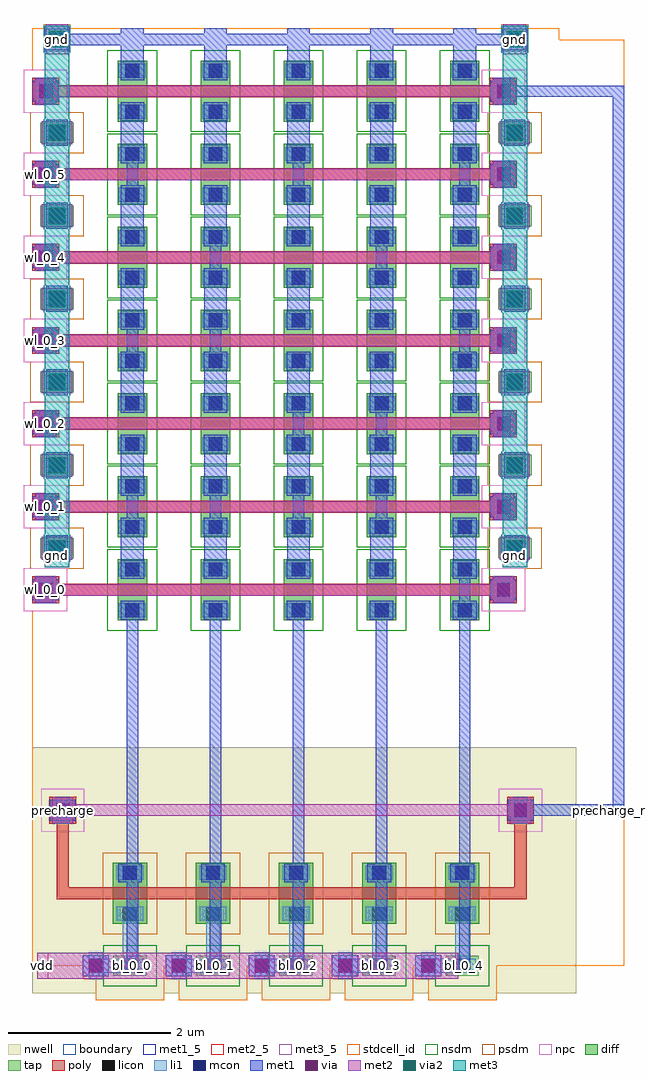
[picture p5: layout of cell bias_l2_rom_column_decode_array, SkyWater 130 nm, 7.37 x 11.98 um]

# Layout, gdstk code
from math import pi, radians
import gdstk
lib = gdstk.Library(unit=1e-6, precision=1e-09)
def R(c, l, rs):  # rectangles x0, y0, x1, y1
    for r in rs: c.add(gdstk.rectangle(r[:2], r[2:], *l))
def A(c, l, x, y, w, h, nx, ny, dx, dy):  # array of equal rectangles
    R(c, l, [(x+i*dx, y+j*dy, x+i*dx+w, y+j*dy+h) for i in range(nx) for j in range(ny)])
nwell = (64, 20)
diff = (65, 20)
tap = (65, 44)
poly = (66, 20)
licon = (66, 44)
li1 = (67, 20)
mcon = (67, 44)
met1_5 = (68, 5)
met1 = (68, 20)
via = (68, 44)
met2_5 = (69, 5)
met2 = (69, 20)
via2 = (69, 44)
met3_5 = (70, 5)
met3 = (70, 20)
stdcell_id = (81, 4)
nsdm = (93, 44)
psdm = (94, 20)
npc = (95, 20)
boundary = (235, 4)

bias_l2_contact_11 = lib.new_cell('bias_l2_contact_11')
R(bias_l2_contact_11, poly, [(0,0,0.33,0.33)])
R(bias_l2_contact_11, licon, [(0.08,0.08,0.25,0.25)])
R(bias_l2_contact_11, li1, [(0.08,0,0.25,0.33)])
R(bias_l2_contact_11, stdcell_id, [(-0.1,-0.1,0.43,0.43)])
R(bias_l2_contact_11, npc, [(-0.1,-0.1,0.43,0.43)])
R(bias_l2_contact_11, boundary, [(-0.1,-0.1,0.43,0.43)])

bias_l2_contact_12 = lib.new_cell('bias_l2_contact_12')
R(bias_l2_contact_12, li1, [(0.06,0,0.23,0.33)])
R(bias_l2_contact_12, mcon, [(0.06,0.08,0.23,0.25)])
R(bias_l2_contact_12, met1, [(0,0.05,0.29,0.28)])
R(bias_l2_contact_12, stdcell_id, [(0,0,0.29,0.33)])
R(bias_l2_contact_12, boundary, [(0,0,0.29,0.33)])

bias_l2_contact_13 = lib.new_cell('bias_l2_contact_13')
R(bias_l2_contact_13, met1, [(0,0.03,0.32,0.29)])
R(bias_l2_contact_13, via, [(0.085,0.085,0.235,0.235)])
R(bias_l2_contact_13, met2, [(0.03,0,0.29,0.32)])
R(bias_l2_contact_13, stdcell_id, [(0,0,0.32,0.32)])
R(bias_l2_contact_13, boundary, [(0,0,0.32,0.32)])

bias_l2_contact_16 = lib.new_cell('bias_l2_contact_16')
R(bias_l2_contact_16, tap, [(0,0,0.41,0.25)])
R(bias_l2_contact_16, licon, [(0.12,0.04,0.29,0.21)])
R(bias_l2_contact_16, li1, [(0.04,0.04,0.37,0.21)])
R(bias_l2_contact_16, stdcell_id, [(-0.125,-0.125,0.535,0.375)])
R(bias_l2_contact_16, psdm, [(-0.125,-0.125,0.535,0.375)])
R(bias_l2_contact_16, boundary, [(-0.125,-0.125,0.535,0.375)])

bias_l2_rom_poly_tap_1 = lib.new_cell('bias_l2_rom_poly_tap_1')
R(bias_l2_rom_poly_tap_1, li1, [(0.22,0.675,0.39,0.845)])
R(bias_l2_rom_poly_tap_1, met1, [(0.005,0.12,0.325,0.38)])
R(bias_l2_rom_poly_tap_1, met2_5, [(0.095,0.18,0.235,0.32)])
R(bias_l2_rom_poly_tap_1, met2, [(0.095,0.18,0.235,0.32)])
R(bias_l2_rom_poly_tap_1, stdcell_id, [(0,0,0.85,1.02)])
R(bias_l2_rom_poly_tap_1, boundary, [(0,0,0.85,1.02)])
bias_l2_rom_poly_tap_1.add(gdstk.Reference(bias_l2_contact_11, (0,0.085)))
bias_l2_rom_poly_tap_1.add(gdstk.Reference(bias_l2_contact_12, (0.02,0.085)))
bias_l2_rom_poly_tap_1.add(gdstk.Reference(bias_l2_contact_13, (0.005,0.09)))
bias_l2_rom_poly_tap_1.add(gdstk.Reference(bias_l2_contact_16, (0.1,0.635)))
bias_l2_rom_poly_tap_1.add(gdstk.Label('poly_tap', (0.165,0.25), layer=69, texttype=5))
bias_l2_rom_poly_tap_1.add(gdstk.Label('active_tap', (0.305,0.76), layer=67, texttype=5))

bias_l2_contact_8 = lib.new_cell('bias_l2_contact_8')
R(bias_l2_contact_8, diff, [(0,0.02,0.25,0.31)])
R(bias_l2_contact_8, licon, [(0.04,0.08,0.21,0.25)])
R(bias_l2_contact_8, li1, [(0.04,0,0.21,0.33)])
R(bias_l2_contact_8, stdcell_id, [(-0.125,-0.105,0.375,0.435)])
R(bias_l2_contact_8, nsdm, [(-0.125,-0.105,0.375,0.435)])
R(bias_l2_contact_8, boundary, [(-0.125,-0.105,0.375,0.435)])

bias_l2_contact_9 = lib.new_cell('bias_l2_contact_9')
R(bias_l2_contact_9, li1, [(0.03,0,0.2,0.33)])
R(bias_l2_contact_9, mcon, [(0.03,0.08,0.2,0.25)])
R(bias_l2_contact_9, met1, [(0,0.02,0.23,0.31)])
R(bias_l2_contact_9, stdcell_id, [(-0.095,-0.125,0.325,0.455)])
R(bias_l2_contact_9, nsdm, [(-0.095,-0.125,0.325,0.455)])
R(bias_l2_contact_9, boundary, [(-0.095,-0.125,0.325,0.455)])

bias_l2_nmos_m1_w0_360_s = lib.new_cell('bias_l2_nmos_m1_w0_360_sm1_dm1')
R(bias_l2_nmos_m1_w0_360_s, diff, [(0,0,0.75,0.36)])
R(bias_l2_nmos_m1_w0_360_s, poly, [(0.3,-0.13,0.45,0.49), (0.3,-0.13,0.45,0.49)])
R(bias_l2_nmos_m1_w0_360_s, met1_5, [(0.01,0.035,0.24,0.325), (0.51,0.035,0.74,0.325)])
R(bias_l2_nmos_m1_w0_360_s, met1, [(0.01,0.035,0.24,0.325), (0.51,0.035,0.74,0.325)])
R(bias_l2_nmos_m1_w0_360_s, stdcell_id, [(-0.125,-0.13,0.875,0.49)])
R(bias_l2_nmos_m1_w0_360_s, nsdm, [(-0.125,-0.125,0.875,0.485)])
R(bias_l2_nmos_m1_w0_360_s, boundary, [(-0.125,-0.13,0.875,0.49)])
bias_l2_nmos_m1_w0_360_s.add(gdstk.Reference(bias_l2_contact_8, (0,0.015)))
bias_l2_nmos_m1_w0_360_s.add(gdstk.Reference(bias_l2_contact_9, (0.01,0.015)))
bias_l2_nmos_m1_w0_360_s.add(gdstk.Reference(bias_l2_contact_8, (0.5,0.015)))
bias_l2_nmos_m1_w0_360_s.add(gdstk.Reference(bias_l2_contact_9, (0.51,0.015)))
bias_l2_nmos_m1_w0_360_s.add(gdstk.Label('G', (0.375,0.18), layer=66, texttype=5))
bias_l2_nmos_m1_w0_360_s.add(gdstk.Label('S', (0.125,0.18), layer=68, texttype=5))
bias_l2_nmos_m1_w0_360_s.add(gdstk.Label('D', (0.625,0.18), layer=68, texttype=5))

bias_l2_rom_base_one_cel = lib.new_cell('bias_l2_rom_base_one_cell')
R(bias_l2_rom_base_one_cel, poly, [(0,0.175,0.4,0.325), (0.4,0.175,1.02,0.325)])
R(bias_l2_rom_base_one_cel, met1_5, [(0.565,-0.115,0.855,0.115), (0.565,0.385,0.855,0.615)])
R(bias_l2_rom_base_one_cel, met1, [(0.565,-0.115,0.855,0.115), (0.565,0.385,0.855,0.615), (0.57,0.5,0.85,1.02)])
R(bias_l2_rom_base_one_cel, stdcell_id, [(0,0,1.02,1.02)])
R(bias_l2_rom_base_one_cel, boundary, [(0,0,1.02,1.02)])
bias_l2_rom_base_one_cel.add(gdstk.Reference(bias_l2_nmos_m1_w0_360_s, (0.89,-0.125), rotation=pi/2))
bias_l2_rom_base_one_cel.add(gdstk.Label('S', (0.71,0), layer=68, texttype=5))
bias_l2_rom_base_one_cel.add(gdstk.Label('D', (0.71,0.5), layer=68, texttype=5))
bias_l2_rom_base_one_cel.add(gdstk.Label('G', (0.71,0.25), layer=66, texttype=5))

bias_l2_rom_base_zero_ce = lib.new_cell('bias_l2_rom_base_zero_cell')
R(bias_l2_rom_base_zero_ce, poly, [(0,0.175,0.4,0.325), (0.4,0.175,1.02,0.325)])
R(bias_l2_rom_base_zero_ce, met1_5, [(0.565,-0.115,0.855,0.115), (0.565,0.385,0.855,0.615)])
R(bias_l2_rom_base_zero_ce, met1, [(0.565,-0.115,0.855,0.115), (0.64,0,0.78,0.5), (0.565,0.385,0.855,0.615), (0.57,0.5,0.85,1.02)])
R(bias_l2_rom_base_zero_ce, stdcell_id, [(0,0,1.02,1.02)])
R(bias_l2_rom_base_zero_ce, boundary, [(0,0,1.02,1.02)])
bias_l2_rom_base_zero_ce.add(gdstk.Reference(bias_l2_nmos_m1_w0_360_s, (0.89,-0.125), rotation=pi/2))
bias_l2_rom_base_zero_ce.add(gdstk.Label('S', (0.71,0), layer=68, texttype=5))
bias_l2_rom_base_zero_ce.add(gdstk.Label('D', (0.71,0.5), layer=68, texttype=5))
bias_l2_rom_base_zero_ce.add(gdstk.Label('G', (0.71,0.25), layer=66, texttype=5))

bias_l2_rom_poly_tap_2 = lib.new_cell('bias_l2_rom_poly_tap_2')
R(bias_l2_rom_poly_tap_2, met1, [(0.005,0.12,0.325,0.38)])
R(bias_l2_rom_poly_tap_2, met2_5, [(0.095,0.18,0.235,0.32)])
R(bias_l2_rom_poly_tap_2, met2, [(0.095,0.18,0.235,0.32)])
R(bias_l2_rom_poly_tap_2, stdcell_id, [(0,0,0.85,1.02)])
R(bias_l2_rom_poly_tap_2, boundary, [(0,0,0.85,1.02)])
bias_l2_rom_poly_tap_2.add(gdstk.Reference(bias_l2_contact_11, (0,0.085)))
bias_l2_rom_poly_tap_2.add(gdstk.Reference(bias_l2_contact_12, (0.02,0.085)))
bias_l2_rom_poly_tap_2.add(gdstk.Reference(bias_l2_contact_13, (0.005,0.09)))
bias_l2_rom_poly_tap_2.add(gdstk.Label('poly_tap', (0.165,0.25), layer=69, texttype=5))

bias_l2_rom_poly_tap_3 = lib.new_cell('bias_l2_rom_poly_tap_3')
R(bias_l2_rom_poly_tap_3, met1, [(0.005,0.12,0.325,0.38)])
R(bias_l2_rom_poly_tap_3, met2_5, [(0.095,0.18,0.235,0.32)])
R(bias_l2_rom_poly_tap_3, met2, [(0.095,0.18,0.235,0.32)])
R(bias_l2_rom_poly_tap_3, stdcell_id, [(0,0,0.85,1.02)])
R(bias_l2_rom_poly_tap_3, boundary, [(0,0,0.85,1.02)])
bias_l2_rom_poly_tap_3.add(gdstk.Reference(bias_l2_contact_11, (0,0.085)))
bias_l2_rom_poly_tap_3.add(gdstk.Reference(bias_l2_contact_12, (0.02,0.085)))
bias_l2_rom_poly_tap_3.add(gdstk.Reference(bias_l2_contact_13, (0.005,0.09)))
bias_l2_rom_poly_tap_3.add(gdstk.Label('poly_tap', (0.165,0.25), layer=69, texttype=5))

bias_l2_contact_10 = lib.new_cell('bias_l2_contact_10')
R(bias_l2_contact_10, nwell, [(-0.295,-0.255,0.545,0.585)])
R(bias_l2_contact_10, diff, [(0,0.02,0.25,0.31)])
R(bias_l2_contact_10, licon, [(0.04,0.08,0.21,0.25)])
R(bias_l2_contact_10, li1, [(0.04,0,0.21,0.33)])
R(bias_l2_contact_10, stdcell_id, [(-0.295,-0.255,0.545,0.585)])
R(bias_l2_contact_10, psdm, [(-0.125,-0.105,0.375,0.435)])
R(bias_l2_contact_10, boundary, [(-0.295,-0.255,0.545,0.585)])

bias_l2_contact_14 = lib.new_cell('bias_l2_contact_14')
R(bias_l2_contact_14, nwell, [(-0.305,-0.255,0.535,0.585)])
R(bias_l2_contact_14, li1, [(0.03,0,0.2,0.33)])
R(bias_l2_contact_14, mcon, [(0.03,0.08,0.2,0.25)])
R(bias_l2_contact_14, met1, [(0,0.02,0.23,0.31)])
R(bias_l2_contact_14, stdcell_id, [(-0.305,-0.255,0.535,0.585)])
R(bias_l2_contact_14, psdm, [(-0.095,-0.125,0.325,0.455)])
R(bias_l2_contact_14, boundary, [(-0.305,-0.255,0.535,0.585)])

bias_l2_pmos_m1_w0_420_s = lib.new_cell('bias_l2_pmos_m1_w0_420_sli_dm1')
R(bias_l2_pmos_m1_w0_420_s, nwell, [(-0.27,-0.27,1.02,0.69)])
R(bias_l2_pmos_m1_w0_420_s, diff, [(0,0,0.75,0.42)])
R(bias_l2_pmos_m1_w0_420_s, poly, [(0.3,-0.13,0.45,0.55), (0.3,-0.13,0.45,0.55)])
R(bias_l2_pmos_m1_w0_420_s, li1, [(0.04,0.045,0.21,0.375)])
R(bias_l2_pmos_m1_w0_420_s, met1_5, [(0.51,0.065,0.74,0.355)])
R(bias_l2_pmos_m1_w0_420_s, met1, [(0.51,0.065,0.74,0.355)])
R(bias_l2_pmos_m1_w0_420_s, stdcell_id, [(-0.27,-0.27,1.02,0.69)])
R(bias_l2_pmos_m1_w0_420_s, psdm, [(-0.125,-0.125,0.875,0.545)])
R(bias_l2_pmos_m1_w0_420_s, boundary, [(-0.27,-0.27,1.02,0.69)])
bias_l2_pmos_m1_w0_420_s.add(gdstk.Reference(bias_l2_contact_10, (0,0.045)))
bias_l2_pmos_m1_w0_420_s.add(gdstk.Reference(bias_l2_contact_10, (0.5,0.045)))
bias_l2_pmos_m1_w0_420_s.add(gdstk.Reference(bias_l2_contact_14, (0.51,0.045)))
bias_l2_pmos_m1_w0_420_s.add(gdstk.Label('G', (0.375,0.21), layer=66, texttype=5))
bias_l2_pmos_m1_w0_420_s.add(gdstk.Label('S', (0.125,0.21), layer=67, texttype=5))
bias_l2_pmos_m1_w0_420_s.add(gdstk.Label('D', (0.625,0.21), layer=68, texttype=5))

bias_l2_contact_15 = lib.new_cell('bias_l2_contact_15')
R(bias_l2_contact_15, nwell, [(-0.215,-0.295,0.625,0.545)])
R(bias_l2_contact_15, tap, [(0,0,0.41,0.25)])
R(bias_l2_contact_15, licon, [(0.12,0.04,0.29,0.21)])
R(bias_l2_contact_15, li1, [(0.04,0.04,0.37,0.21)])
R(bias_l2_contact_15, stdcell_id, [(-0.215,-0.295,0.625,0.545)])
R(bias_l2_contact_15, nsdm, [(-0.125,-0.125,0.535,0.375)])
R(bias_l2_contact_15, boundary, [(-0.215,-0.295,0.625,0.545)])

bias_l2_precharge_cell = lib.new_cell('bias_l2_precharge_cell')
R(bias_l2_precharge_cell, nwell, [(0,-0.945,1.02,0.68)])
R(bias_l2_precharge_cell, poly, [(0,0.175,0.34,0.325), (0.34,0.175,1.02,0.325)])
R(bias_l2_precharge_cell, li1, [(0.175,-0.725,0.345,-0.555), (0.26,-0.725,0.68,-0.555), (0.595,-0.725,0.765,-0.555), (0.595,-0.725,0.765,-0.555), (0.595,-0.64,0.765,0)])
R(bias_l2_precharge_cell, met1_5, [(0.535,0.385,0.825,0.615)])
R(bias_l2_precharge_cell, met1, [(0.535,0.385,0.825,0.615)])
R(bias_l2_precharge_cell, stdcell_id, [(0,0,1.02,1.02)])
R(bias_l2_precharge_cell, boundary, [(0,0,1.02,1.02)])
bias_l2_precharge_cell.add(gdstk.Reference(bias_l2_pmos_m1_w0_420_s, (0.89,-0.125), rotation=pi/2))
bias_l2_precharge_cell.add(gdstk.Reference(bias_l2_contact_15, (0.475,-0.765)))
bias_l2_precharge_cell.add(gdstk.Label('D', (0.68,0.5), layer=68, texttype=5))
bias_l2_precharge_cell.add(gdstk.Label('G', (0.68,0.25), layer=66, texttype=5))
bias_l2_precharge_cell.add(gdstk.Label('vdd', (0.26,-0.64), layer=67, texttype=5))

bias_l2_rom_precharge_ar = lib.new_cell('bias_l2_rom_precharge_array_1')
R(bias_l2_rom_precharge_ar, nwell, [(0,-0.98,6.68,2.04)])
R(bias_l2_rom_precharge_ar, poly, [(0.305,0.175,6.065,0.325), (5.275,0.175,6.07,0.325), (5.28,0.175,6.07,0.325), (0.3,0.25,0.45,1.2), (5.92,0.25,6.07,1.2)])
A(bias_l2_rom_precharge_ar, met1_5, 1.13, 0.43, 0.14, 0.14, 5, 1, 1.02, 0)
A(bias_l2_rom_precharge_ar, met1, 0.62, -0.77, 0.32, 0.26, 5, 1, 1.02, 0)
A(bias_l2_rom_precharge_ar, met1, 1.13, 0.43, 0.14, 0.14, 5, 1, 1.02, 0)
R(bias_l2_rom_precharge_ar, met2_5, [(0.06,-0.8,0.2,-0.48), (0.305,1.2,0.445,1.34), (5.925,1.2,6.065,1.34)])
R(bias_l2_rom_precharge_ar, met2, [(0.06,-0.8,0.2,-0.48), (0.13,-0.8,5.23,-0.48), (0.305,1.2,0.445,1.34), (0.305,1.2,0.445,1.34), (0.305,1.2,6.065,1.34), (5.925,1.2,6.065,1.34), (5.925,1.2,6.065,1.34)])
R(bias_l2_rom_precharge_ar, stdcell_id, [(0,0,6.68,2.04)])
R(bias_l2_rom_precharge_ar, boundary, [(0,0,6.68,2.04)])
bias_l2_rom_precharge_ar.add(gdstk.Reference(bias_l2_rom_poly_tap_3, (0.21,1.02)))
bias_l2_rom_precharge_ar.add(gdstk.Reference(bias_l2_rom_poly_tap_3, (5.83,1.02)))
bias_l2_rom_precharge_ar.add(gdstk.Reference(bias_l2_precharge_cell, (0.52,0)))
bias_l2_rom_precharge_ar.add(gdstk.Reference(bias_l2_precharge_cell, (1.54,0)))
bias_l2_rom_precharge_ar.add(gdstk.Reference(bias_l2_precharge_cell, (2.56,0)))
bias_l2_rom_precharge_ar.add(gdstk.Reference(bias_l2_precharge_cell, (3.58,0)))
bias_l2_rom_precharge_ar.add(gdstk.Reference(bias_l2_precharge_cell, (4.6,0)))
bias_l2_rom_precharge_ar.add(gdstk.Reference(bias_l2_contact_12, (0.635,-0.805)))
bias_l2_rom_precharge_ar.add(gdstk.Reference(bias_l2_contact_13, (0.62,-0.8)))
bias_l2_rom_precharge_ar.add(gdstk.Reference(bias_l2_contact_12, (1.655,-0.805)))
bias_l2_rom_precharge_ar.add(gdstk.Reference(bias_l2_contact_13, (1.64,-0.8)))
bias_l2_rom_precharge_ar.add(gdstk.Reference(bias_l2_contact_12, (2.675,-0.805)))
bias_l2_rom_precharge_ar.add(gdstk.Reference(bias_l2_contact_13, (2.66,-0.8)))
bias_l2_rom_precharge_ar.add(gdstk.Reference(bias_l2_contact_12, (3.695,-0.805)))
bias_l2_rom_precharge_ar.add(gdstk.Reference(bias_l2_contact_13, (3.68,-0.8)))
bias_l2_rom_precharge_ar.add(gdstk.Reference(bias_l2_contact_12, (4.715,-0.805)))
bias_l2_rom_precharge_ar.add(gdstk.Reference(bias_l2_contact_13, (4.7,-0.8)))
bias_l2_rom_precharge_ar.add(gdstk.Label('upper right', (6.68,2.04), layer=64, texttype=20))
bias_l2_rom_precharge_ar.add(gdstk.Label('gate', (0.375,1.27), layer=69, texttype=5))
bias_l2_rom_precharge_ar.add(gdstk.Label('precharge_r', (5.995,1.27), layer=69, texttype=5))
bias_l2_rom_precharge_ar.add(gdstk.Label('pre_bl0_out', (1.2,0.5), layer=68, texttype=5))
bias_l2_rom_precharge_ar.add(gdstk.Label('pre_bl1_out', (2.22,0.5), layer=68, texttype=5))
bias_l2_rom_precharge_ar.add(gdstk.Label('pre_bl2_out', (3.24,0.5), layer=68, texttype=5))
bias_l2_rom_precharge_ar.add(gdstk.Label('pre_bl3_out', (4.26,0.5), layer=68, texttype=5))
bias_l2_rom_precharge_ar.add(gdstk.Label('pre_bl4_out', (5.28,0.5), layer=68, texttype=5))
bias_l2_rom_precharge_ar.add(gdstk.Label('vdd', (0.13,-0.64), layer=69, texttype=5))

bias_l2_contact_17 = lib.new_cell('bias_l2_contact_17')
R(bias_l2_contact_17, li1, [(0,0.06,0.33,0.23)])
R(bias_l2_contact_17, mcon, [(0.08,0.06,0.25,0.23)])
R(bias_l2_contact_17, met1, [(0.05,0,0.28,0.29)])
R(bias_l2_contact_17, stdcell_id, [(0,0,0.33,0.29)])
R(bias_l2_contact_17, boundary, [(0,0,0.33,0.29)])

bias_l2_contact_18 = lib.new_cell('bias_l2_contact_18')
R(bias_l2_contact_18, met1, [(0.03,0,0.29,0.32)])
R(bias_l2_contact_18, via, [(0.085,0.085,0.235,0.235)])
R(bias_l2_contact_18, met2, [(0,0.03,0.32,0.29)])
R(bias_l2_contact_18, stdcell_id, [(0,0,0.32,0.32)])
R(bias_l2_contact_18, boundary, [(0,0,0.32,0.32)])

bias_l2_contact_21 = lib.new_cell('bias_l2_contact_21')
R(bias_l2_contact_21, met2, [(0,0.025,0.37,0.305)])
R(bias_l2_contact_21, via2, [(0.085,0.065,0.285,0.265)])
R(bias_l2_contact_21, met3, [(0.02,0,0.35,0.33)])
R(bias_l2_contact_21, stdcell_id, [(0,0,0.37,0.33)])
R(bias_l2_contact_21, boundary, [(0,0,0.37,0.33)])

bias_l2_contact_22 = lib.new_cell('bias_l2_contact_22')
R(bias_l2_contact_22, met2, [(0.025,0,0.305,0.37)])
R(bias_l2_contact_22, via2, [(0.065,0.085,0.265,0.285)])
R(bias_l2_contact_22, met3, [(0,0.02,0.33,0.35)])
R(bias_l2_contact_22, stdcell_id, [(0,0,0.33,0.37)])
R(bias_l2_contact_22, boundary, [(0,0,0.33,0.37)])

bias_l2_rom_column_decod = lib.new_cell('bias_l2_rom_column_decode_array')
A(bias_l2_rom_column_decod, poly, 0.095, 4.54, 5.76, 0.15, 1, 7, 0, 1.02)
A(bias_l2_rom_column_decod, met1_5, 1.16, -0.07, 0.14, 0.14, 5, 1, 1.02, 0)
R(bias_l2_rom_column_decod, met1_5, [(7.125,1.84,7.265,1.98)])
A(bias_l2_rom_column_decod, met1, 1.16, -0.07, 0.14, 0.14, 5, 1, 1.02, 0)
A(bias_l2_rom_column_decod, met1, 1.16, 0.005, 0.14, 2.75, 5, 1, 1.02, 0)
A(bias_l2_rom_column_decod, met1, 1.16, 1.14, 0.14, 3.225, 5, 1, 1.02, 0)
A(bias_l2_rom_column_decod, met1, 0.04, 4.45, 0.255, 0.33, 1, 7, 0, 1.02)
A(bias_l2_rom_column_decod, met1, 5.66, 4.45, 0.255, 0.33, 1, 7, 0, 1.02)
A(bias_l2_rom_column_decod, met1, 0.175, 4.965, 0.26, 0.32, 1, 6, 0, 1.02)
A(bias_l2_rom_column_decod, met1, 5.795, 4.965, 0.26, 0.32, 1, 6, 0, 1.02)
R(bias_l2_rom_column_decod, met1, [(5.995,1.84,7.195,1.98), (7.125,1.84,7.265,1.98), (7.125,1.84,7.265,1.98), (7.125,1.91,7.265,10.735), (5.785,10.665,6.985,10.805), (6.985,10.665,7.195,10.805), (7.125,10.665,7.265,10.805), (0.305,11.3,1.16,11.44), (1.09,11.3,5.45,11.44), (5.38,11.3,5.925,11.44)])
A(bias_l2_rom_column_decod, met2_5, 0.095, 4.545, 0.14, 0.14, 1, 6, 0, 1.02)
R(bias_l2_rom_column_decod, met2_5, [(0.06,-0.16,0.2,0.16), (0.305,1.84,0.445,1.98)])
A(bias_l2_rom_column_decod, met2, 0.005, 4.51, 0.32, 0.215, 1, 7, 0, 1.02)
A(bias_l2_rom_column_decod, met2, 5.625, 4.51, 0.32, 0.215, 1, 7, 0, 1.02)
A(bias_l2_rom_column_decod, met2, 0.095, 4.545, 5.76, 0.14, 1, 7, 0, 1.02)
A(bias_l2_rom_column_decod, met2, 5.715, 4.545, 0.14, 0.14, 1, 7, 0, 1.02)
A(bias_l2_rom_column_decod, met2, 0.12, 5.03, 0.37, 0.185, 1, 6, 0, 1.02)
A(bias_l2_rom_column_decod, met2, 5.74, 5.03, 0.37, 0.185, 1, 6, 0, 1.02)
R(bias_l2_rom_column_decod, met2, [(0.06,-0.16,0.2,0.16), (0.305,1.84,0.445,1.98), (0.095,4.545,0.235,4.685), (0.095,4.545,0.235,4.685), (0.095,5.565,0.235,5.705), (0.095,5.565,0.235,5.705), (0.095,6.585,0.235,6.725), (0.095,6.585,0.235,6.725), (0.095,7.605,0.235,7.745), (0.095,7.605,0.235,7.745), (0.095,8.625,0.235,8.765), (0.095,8.625,0.235,8.765), (0.095,9.645,0.235,9.785), (0.095,9.645,0.235,9.785), (0.095,10.665,0.235,10.805), (0.165,11.25,0.445,11.495), (5.785,11.25,6.065,11.495)])
R(bias_l2_rom_column_decod, met3_5, [(0.155,4.89,0.455,5.19), (5.775,4.89,6.075,5.19), (0.155,11.22,0.455,11.52), (5.775,11.22,6.075,11.52)])
R(bias_l2_rom_column_decod, met3, [(0.155,4.89,0.455,11.52), (0.155,4.89,0.455,5.19), (5.775,4.89,6.075,11.52), (5.775,4.89,6.075,5.19), (0.155,11.22,0.455,11.52), (5.775,11.22,6.075,11.52)])
R(bias_l2_rom_column_decod, stdcell_id, [(0,0,7.265,11.365)])
R(bias_l2_rom_column_decod, boundary, [(0,0,7.265,11.365)])
bias_l2_rom_column_decod.add(gdstk.Reference(bias_l2_rom_poly_tap_1, (0,4.365)))
bias_l2_rom_column_decod.add(gdstk.Reference(bias_l2_rom_base_one_cel, (0.52,4.365)))
bias_l2_rom_column_decod.add(gdstk.Reference(bias_l2_rom_base_one_cel, (1.54,4.365)))
bias_l2_rom_column_decod.add(gdstk.Reference(bias_l2_rom_base_one_cel, (2.56,4.365)))
bias_l2_rom_column_decod.add(gdstk.Reference(bias_l2_rom_base_one_cel, (3.58,4.365)))
bias_l2_rom_column_decod.add(gdstk.Reference(bias_l2_rom_base_zero_ce, (4.6,4.365)))
bias_l2_rom_column_decod.add(gdstk.Reference(bias_l2_rom_poly_tap_1, (5.62,4.365)))
bias_l2_rom_column_decod.add(gdstk.Reference(bias_l2_rom_poly_tap_1, (0,5.385)))
bias_l2_rom_column_decod.add(gdstk.Reference(bias_l2_rom_base_zero_ce, (0.52,5.385)))
bias_l2_rom_column_decod.add(gdstk.Reference(bias_l2_rom_base_zero_ce, (1.54,5.385)))
bias_l2_rom_column_decod.add(gdstk.Reference(bias_l2_rom_base_zero_ce, (2.56,5.385)))
bias_l2_rom_column_decod.add(gdstk.Reference(bias_l2_rom_base_zero_ce, (3.58,5.385)))
bias_l2_rom_column_decod.add(gdstk.Reference(bias_l2_rom_base_one_cel, (4.6,5.385)))
bias_l2_rom_column_decod.add(gdstk.Reference(bias_l2_rom_poly_tap_1, (5.62,5.385)))
bias_l2_rom_column_decod.add(gdstk.Reference(bias_l2_rom_poly_tap_1, (0,6.405)))
bias_l2_rom_column_decod.add(gdstk.Reference(bias_l2_rom_base_one_cel, (0.52,6.405)))
bias_l2_rom_column_decod.add(gdstk.Reference(bias_l2_rom_base_one_cel, (1.54,6.405)))
bias_l2_rom_column_decod.add(gdstk.Reference(bias_l2_rom_base_zero_ce, (2.56,6.405)))
bias_l2_rom_column_decod.add(gdstk.Reference(bias_l2_rom_base_zero_ce, (3.58,6.405)))
bias_l2_rom_column_decod.add(gdstk.Reference(bias_l2_rom_base_one_cel, (4.6,6.405)))
bias_l2_rom_column_decod.add(gdstk.Reference(bias_l2_rom_poly_tap_1, (5.62,6.405)))
bias_l2_rom_column_decod.add(gdstk.Reference(bias_l2_rom_poly_tap_1, (0,7.425)))
bias_l2_rom_column_decod.add(gdstk.Reference(bias_l2_rom_base_zero_ce, (0.52,7.425)))
bias_l2_rom_column_decod.add(gdstk.Reference(bias_l2_rom_base_zero_ce, (1.54,7.425)))
bias_l2_rom_column_decod.add(gdstk.Reference(bias_l2_rom_base_one_cel, (2.56,7.425)))
bias_l2_rom_column_decod.add(gdstk.Reference(bias_l2_rom_base_one_cel, (3.58,7.425)))
bias_l2_rom_column_decod.add(gdstk.Reference(bias_l2_rom_base_zero_ce, (4.6,7.425)))
bias_l2_rom_column_decod.add(gdstk.Reference(bias_l2_rom_poly_tap_1, (5.62,7.425)))
bias_l2_rom_column_decod.add(gdstk.Reference(bias_l2_rom_poly_tap_1, (0,8.445)))
bias_l2_rom_column_decod.add(gdstk.Reference(bias_l2_rom_base_one_cel, (0.52,8.445)))
bias_l2_rom_column_decod.add(gdstk.Reference(bias_l2_rom_base_zero_ce, (1.54,8.445)))
bias_l2_rom_column_decod.add(gdstk.Reference(bias_l2_rom_base_one_cel, (2.56,8.445)))
bias_l2_rom_column_decod.add(gdstk.Reference(bias_l2_rom_base_zero_ce, (3.58,8.445)))
bias_l2_rom_column_decod.add(gdstk.Reference(bias_l2_rom_base_one_cel, (4.6,8.445)))
bias_l2_rom_column_decod.add(gdstk.Reference(bias_l2_rom_poly_tap_1, (5.62,8.445)))
bias_l2_rom_column_decod.add(gdstk.Reference(bias_l2_rom_poly_tap_1, (0,9.465)))
bias_l2_rom_column_decod.add(gdstk.Reference(bias_l2_rom_base_zero_ce, (0.52,9.465)))
bias_l2_rom_column_decod.add(gdstk.Reference(bias_l2_rom_base_one_cel, (1.54,9.465)))
bias_l2_rom_column_decod.add(gdstk.Reference(bias_l2_rom_base_zero_ce, (2.56,9.465)))
bias_l2_rom_column_decod.add(gdstk.Reference(bias_l2_rom_base_one_cel, (3.58,9.465)))
bias_l2_rom_column_decod.add(gdstk.Reference(bias_l2_rom_base_zero_ce, (4.6,9.465)))
bias_l2_rom_column_decod.add(gdstk.Reference(bias_l2_rom_poly_tap_1, (5.62,9.465)))
bias_l2_rom_column_decod.add(gdstk.Reference(bias_l2_rom_poly_tap_2, (0,10.485)))
bias_l2_rom_column_decod.add(gdstk.Reference(bias_l2_rom_base_one_cel, (0.52,10.485)))
bias_l2_rom_column_decod.add(gdstk.Reference(bias_l2_rom_base_one_cel, (1.54,10.485)))
bias_l2_rom_column_decod.add(gdstk.Reference(bias_l2_rom_base_one_cel, (2.56,10.485)))
bias_l2_rom_column_decod.add(gdstk.Reference(bias_l2_rom_base_one_cel, (3.58,10.485)))
bias_l2_rom_column_decod.add(gdstk.Reference(bias_l2_rom_base_one_cel, (4.6,10.485)))
bias_l2_rom_column_decod.add(gdstk.Reference(bias_l2_rom_poly_tap_2, (5.62,10.485)))
bias_l2_rom_column_decod.add(gdstk.Reference(bias_l2_rom_precharge_ar, (0,0.64)))
bias_l2_rom_column_decod.add(gdstk.Reference(bias_l2_contact_17, (0.14,4.98)))
bias_l2_rom_column_decod.add(gdstk.Reference(bias_l2_contact_18, (0.145,4.965)))
bias_l2_rom_column_decod.add(gdstk.Reference(bias_l2_contact_21, (0.12,4.96)))
bias_l2_rom_column_decod.add(gdstk.Reference(bias_l2_contact_17, (0.14,6)))
bias_l2_rom_column_decod.add(gdstk.Reference(bias_l2_contact_18, (0.145,5.985)))
bias_l2_rom_column_decod.add(gdstk.Reference(bias_l2_contact_21, (0.12,5.98)))
bias_l2_rom_column_decod.add(gdstk.Reference(bias_l2_contact_17, (0.14,7.02)))
bias_l2_rom_column_decod.add(gdstk.Reference(bias_l2_contact_18, (0.145,7.005)))
bias_l2_rom_column_decod.add(gdstk.Reference(bias_l2_contact_21, (0.12,7)))
bias_l2_rom_column_decod.add(gdstk.Reference(bias_l2_contact_17, (0.14,8.04)))
bias_l2_rom_column_decod.add(gdstk.Reference(bias_l2_contact_18, (0.145,8.025)))
bias_l2_rom_column_decod.add(gdstk.Reference(bias_l2_contact_21, (0.12,8.02)))
bias_l2_rom_column_decod.add(gdstk.Reference(bias_l2_contact_17, (0.14,9.06)))
bias_l2_rom_column_decod.add(gdstk.Reference(bias_l2_contact_18, (0.145,9.045)))
bias_l2_rom_column_decod.add(gdstk.Reference(bias_l2_contact_21, (0.12,9.04)))
bias_l2_rom_column_decod.add(gdstk.Reference(bias_l2_contact_17, (0.14,10.08)))
bias_l2_rom_column_decod.add(gdstk.Reference(bias_l2_contact_18, (0.145,10.065)))
bias_l2_rom_column_decod.add(gdstk.Reference(bias_l2_contact_21, (0.12,10.06)))
bias_l2_rom_column_decod.add(gdstk.Reference(bias_l2_contact_17, (5.76,4.98)))
bias_l2_rom_column_decod.add(gdstk.Reference(bias_l2_contact_18, (5.765,4.965)))
bias_l2_rom_column_decod.add(gdstk.Reference(bias_l2_contact_21, (5.74,4.96)))
bias_l2_rom_column_decod.add(gdstk.Reference(bias_l2_contact_17, (5.76,6)))
bias_l2_rom_column_decod.add(gdstk.Reference(bias_l2_contact_18, (5.765,5.985)))
bias_l2_rom_column_decod.add(gdstk.Reference(bias_l2_contact_21, (5.74,5.98)))
bias_l2_rom_column_decod.add(gdstk.Reference(bias_l2_contact_17, (5.76,7.02)))
bias_l2_rom_column_decod.add(gdstk.Reference(bias_l2_contact_18, (5.765,7.005)))
bias_l2_rom_column_decod.add(gdstk.Reference(bias_l2_contact_21, (5.74,7)))
bias_l2_rom_column_decod.add(gdstk.Reference(bias_l2_contact_17, (5.76,8.04)))
bias_l2_rom_column_decod.add(gdstk.Reference(bias_l2_contact_18, (5.765,8.025)))
bias_l2_rom_column_decod.add(gdstk.Reference(bias_l2_contact_21, (5.74,8.02)))
bias_l2_rom_column_decod.add(gdstk.Reference(bias_l2_contact_17, (5.76,9.06)))
bias_l2_rom_column_decod.add(gdstk.Reference(bias_l2_contact_18, (5.765,9.045)))
bias_l2_rom_column_decod.add(gdstk.Reference(bias_l2_contact_21, (5.74,9.04)))
bias_l2_rom_column_decod.add(gdstk.Reference(bias_l2_contact_17, (5.76,10.08)))
bias_l2_rom_column_decod.add(gdstk.Reference(bias_l2_contact_18, (5.765,10.065)))
bias_l2_rom_column_decod.add(gdstk.Reference(bias_l2_contact_21, (5.74,10.06)))
bias_l2_rom_column_decod.add(gdstk.Reference(bias_l2_contact_13, (5.765,11.21)))
bias_l2_rom_column_decod.add(gdstk.Reference(bias_l2_contact_22, (5.76,11.19)))
bias_l2_rom_column_decod.add(gdstk.Reference(bias_l2_contact_13, (0.145,11.21)))
bias_l2_rom_column_decod.add(gdstk.Reference(bias_l2_contact_22, (0.14,11.19)))
bias_l2_rom_column_decod.add(gdstk.Reference(bias_l2_contact_13, (0.005,4.455)))
bias_l2_rom_column_decod.add(gdstk.Reference(bias_l2_contact_12, (0.02,4.45)))
bias_l2_rom_column_decod.add(gdstk.Reference(bias_l2_contact_11, (0,4.45)))
bias_l2_rom_column_decod.add(gdstk.Reference(bias_l2_contact_13, (5.625,4.455)))
bias_l2_rom_column_decod.add(gdstk.Reference(bias_l2_contact_12, (5.64,4.45)))
bias_l2_rom_column_decod.add(gdstk.Reference(bias_l2_contact_11, (5.62,4.45)))
bias_l2_rom_column_decod.add(gdstk.Reference(bias_l2_contact_13, (0.005,5.475)))
bias_l2_rom_column_decod.add(gdstk.Reference(bias_l2_contact_12, (0.02,5.47)))
bias_l2_rom_column_decod.add(gdstk.Reference(bias_l2_contact_11, (0,5.47)))
bias_l2_rom_column_decod.add(gdstk.Reference(bias_l2_contact_13, (5.625,5.475)))
bias_l2_rom_column_decod.add(gdstk.Reference(bias_l2_contact_12, (5.64,5.47)))
bias_l2_rom_column_decod.add(gdstk.Reference(bias_l2_contact_11, (5.62,5.47)))
bias_l2_rom_column_decod.add(gdstk.Reference(bias_l2_contact_13, (0.005,6.495)))
bias_l2_rom_column_decod.add(gdstk.Reference(bias_l2_contact_12, (0.02,6.49)))
bias_l2_rom_column_decod.add(gdstk.Reference(bias_l2_contact_11, (0,6.49)))
bias_l2_rom_column_decod.add(gdstk.Reference(bias_l2_contact_13, (5.625,6.495)))
bias_l2_rom_column_decod.add(gdstk.Reference(bias_l2_contact_12, (5.64,6.49)))
bias_l2_rom_column_decod.add(gdstk.Reference(bias_l2_contact_11, (5.62,6.49)))
bias_l2_rom_column_decod.add(gdstk.Reference(bias_l2_contact_13, (0.005,7.515)))
bias_l2_rom_column_decod.add(gdstk.Reference(bias_l2_contact_12, (0.02,7.51)))
bias_l2_rom_column_decod.add(gdstk.Reference(bias_l2_contact_11, (0,7.51)))
bias_l2_rom_column_decod.add(gdstk.Reference(bias_l2_contact_13, (5.625,7.515)))
bias_l2_rom_column_decod.add(gdstk.Reference(bias_l2_contact_12, (5.64,7.51)))
bias_l2_rom_column_decod.add(gdstk.Reference(bias_l2_contact_11, (5.62,7.51)))
bias_l2_rom_column_decod.add(gdstk.Reference(bias_l2_contact_13, (0.005,8.535)))
bias_l2_rom_column_decod.add(gdstk.Reference(bias_l2_contact_12, (0.02,8.53)))
bias_l2_rom_column_decod.add(gdstk.Reference(bias_l2_contact_11, (0,8.53)))
bias_l2_rom_column_decod.add(gdstk.Reference(bias_l2_contact_13, (5.625,8.535)))
bias_l2_rom_column_decod.add(gdstk.Reference(bias_l2_contact_12, (5.64,8.53)))
bias_l2_rom_column_decod.add(gdstk.Reference(bias_l2_contact_11, (5.62,8.53)))
bias_l2_rom_column_decod.add(gdstk.Reference(bias_l2_contact_13, (0.005,9.555)))
bias_l2_rom_column_decod.add(gdstk.Reference(bias_l2_contact_12, (0.02,9.55)))
bias_l2_rom_column_decod.add(gdstk.Reference(bias_l2_contact_11, (0,9.55)))
bias_l2_rom_column_decod.add(gdstk.Reference(bias_l2_contact_13, (5.625,9.555)))
bias_l2_rom_column_decod.add(gdstk.Reference(bias_l2_contact_12, (5.64,9.55)))
bias_l2_rom_column_decod.add(gdstk.Reference(bias_l2_contact_11, (5.62,9.55)))
bias_l2_rom_column_decod.add(gdstk.Reference(bias_l2_contact_13, (0.005,10.575)))
bias_l2_rom_column_decod.add(gdstk.Reference(bias_l2_contact_12, (0.02,10.57)))
bias_l2_rom_column_decod.add(gdstk.Reference(bias_l2_contact_11, (0,10.57)))
bias_l2_rom_column_decod.add(gdstk.Reference(bias_l2_contact_13, (5.625,10.575)))
bias_l2_rom_column_decod.add(gdstk.Reference(bias_l2_contact_12, (5.64,10.57)))
bias_l2_rom_column_decod.add(gdstk.Reference(bias_l2_contact_11, (5.62,10.57)))
bias_l2_rom_column_decod.add(gdstk.Label('precharge', (0.375,1.91), layer=69, texttype=5))
bias_l2_rom_column_decod.add(gdstk.Label('wl_0_0', (0.165,4.615), layer=69, texttype=5))
bias_l2_rom_column_decod.add(gdstk.Label('wl_0_1', (0.165,5.635), layer=69, texttype=5))
bias_l2_rom_column_decod.add(gdstk.Label('wl_0_2', (0.165,6.655), layer=69, texttype=5))
bias_l2_rom_column_decod.add(gdstk.Label('wl_0_3', (0.165,7.675), layer=69, texttype=5))
bias_l2_rom_column_decod.add(gdstk.Label('wl_0_4', (0.165,8.695), layer=69, texttype=5))
bias_l2_rom_column_decod.add(gdstk.Label('wl_0_5', (0.165,9.715), layer=69, texttype=5))
bias_l2_rom_column_decod.add(gdstk.Label('bl_0_0', (1.23,0), layer=68, texttype=5))
bias_l2_rom_column_decod.add(gdstk.Label('bl_0_1', (2.25,0), layer=68, texttype=5))
bias_l2_rom_column_decod.add(gdstk.Label('bl_0_2', (3.27,0), layer=68, texttype=5))
bias_l2_rom_column_decod.add(gdstk.Label('bl_0_3', (4.29,0), layer=68, texttype=5))
bias_l2_rom_column_decod.add(gdstk.Label('bl_0_4', (5.31,0), layer=68, texttype=5))
bias_l2_rom_column_decod.add(gdstk.Label('precharge_r', (7.195,1.91), layer=68, texttype=5))
bias_l2_rom_column_decod.add(gdstk.Label('gnd', (0.305,11.37), layer=70, texttype=5))
bias_l2_rom_column_decod.add(gdstk.Label('gnd', (5.925,11.37), layer=70, texttype=5))
bias_l2_rom_column_decod.add(gdstk.Label('gnd', (5.925,5.04), layer=70, texttype=5))
bias_l2_rom_column_decod.add(gdstk.Label('gnd', (0.305,5.04), layer=70, texttype=5))
bias_l2_rom_column_decod.add(gdstk.Label('vdd', (0.13,0), layer=69, texttype=5))

lib.write_gds('bias_l2_rom_column_decode_array.gds')
